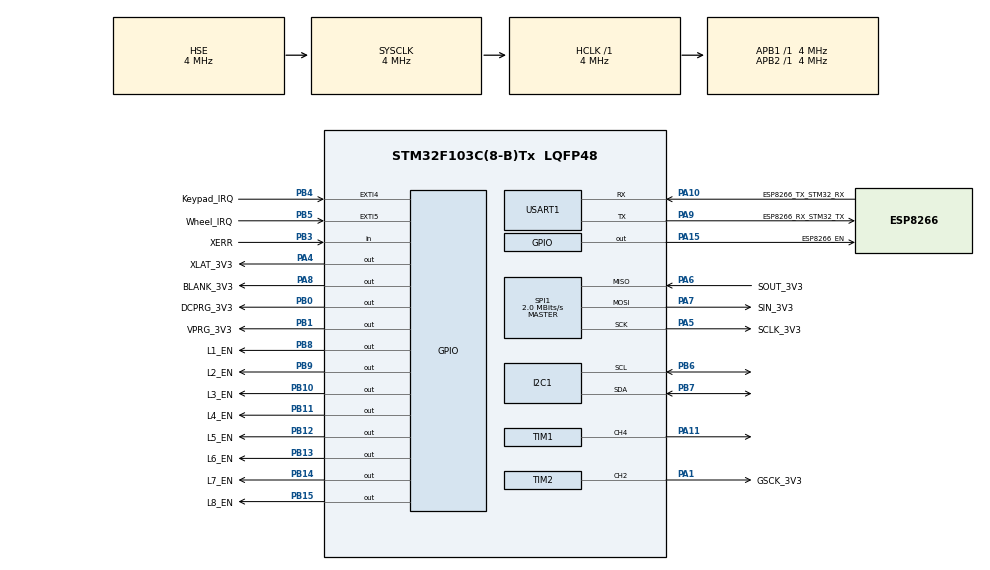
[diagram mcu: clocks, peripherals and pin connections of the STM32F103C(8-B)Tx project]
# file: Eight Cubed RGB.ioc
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Mcu.Family=STM32F1
PA6.Mode=Full_Duplex_Master
SH.S_TIM1_CH4.0=TIM1_CH4,PWM Generation4 CH4
SPI1.VirtualType=VM_MASTER
PB4.GPIO_ModeDefaultEXTI=GPIO_MODE_IT_FALLING
PB14.GPIO_Label=L7_EN
VP_RTC_VS_RTC_Activate.Mode=RTC_Enabled
PA6.GPIO_Label=SOUT_3V3
PB0.GPIO_Label=DCPRG_3V3
TIM2.Pulse-Output\ Compare2\ CH2=1
NVIC.TIM1_UP_IRQn=true\:0\:0\:true\:false\:true\:true\:true
PB13.GPIO_Label=L6_EN
PB11.Signal=GPIO_Output
PB13.Signal=GPIO_Output
PB15.Signal=GPIO_Output
RCC.SYSCLKSource=RCC_SYSCLKSOURCE_HSE
ProjectManager.StackSize=0x2000
PD1-OSC_OUT.Signal=RCC_OSC_OUT
PA15.GPIO_Label=ESP8266_EN
TIM1.Channel-PWM\ Generation4\ CH4=TIM_CHANNEL_4
SPI1.Direction=SPI_DIRECTION_2LINES
RCC.HCLKFreq_Value=4000000
RCC.APB2TimFreq_Value=4000000
PB6.Signal=I2C1_SCL
PB6.Mode=I2C
SPI1.CalculateBaudRate=2.0 MBits/s
RCC.AHBFreq_Value=4000000
RCC.HSE_VALUE=4000000
PB12.GPIO_Label=L5_EN
PB3.GPIO_PuPd=GPIO_PULLUP
PA14.Mode=Serial_Wire
PB1.GPIO_Label=VPRG_3V3
PA10.GPIO_Label=ESP8266_TX_STM32_RX
PB7.Signal=I2C1_SDA
PA8.Signal=GPIO_Output
Mcu.Package=LQFP48
PB9.Signal=GPIO_Output
TIM2.Channel-Output\ Compare2\ CH2=TIM_CHANNEL_2
TIM2.OCMode_2=TIM_OCMODE_TOGGLE
PB1.Signal=GPIO_Output
PA6.Signal=SPI1_MISO
PA10.Signal=USART1_RX
PA15.Signal=GPIO_Output
PB5.GPIO_Label=Wheel_IRQ
RCC.APB1TimFreq_Value=4000000
TIM1.Period=16383
NVIC.USART1_IRQn=true\:1\:0\:true\:false\:true\:true\:true
SPI1.BaudRatePrescaler=SPI_BAUDRATEPRESCALER_2
PA4.GPIO_Label=XLAT_3V3
PB4.Signal=GPXTI4
PA5.Mode=Full_Duplex_Master
PB3.GPIO_Label=XERR
PB5.GPIO_ModeDefaultEXTI=GPIO_MODE_IT_FALLING
RCC.PLLSourceVirtual=RCC_PLLSOURCE_HSE
NVIC.EXTI4_IRQn=true\:2\:0\:true\:false\:true\:true\:true
PA7.Mode=Full_Duplex_Master
PD1-OSC_OUT.Mode=HSE-External-Oscillator
PB9.GPIO_Label=L2_EN
PA10.Mode=Asynchronous
PA9.GPIO_Label=ESP8266_RX_STM32_TX
PB11.GPIO_Label=L4_EN
PD0-OSC_IN.Signal=RCC_OSC_IN
PA13.Signal=SYS_JTMS-SWDIO
PB8.GPIO_Label=L1_EN
SH.S_TIM2_CH2.0=TIM2_CH2,Output Compare2 CH2
PA9.Mode=Asynchronous
PA8.GPIO_Label=BLANK_3V3
ProjectManager.TargetToolchain=MDK-ARM V5.27
PB10.GPIO_Label=L3_EN
PA9.Signal=USART1_TX
RCC.USBFreq_Value=8000000
PA1.Signal=S_TIM2_CH2
PB10.Signal=GPIO_Output
PD0-OSC_IN.Mode=HSE-External-Oscillator
PB14.Signal=GPIO_Output
PA5.Signal=SPI1_SCK
board=custom
TIM1.TIM_MasterOutputTrigger=TIM_TRGO_UPDATE
RCC.APB2Freq_Value=4000000
PB4.GPIO_Label=Keypad_IRQ
PB15.GPIO_Label=L8_EN
SPI1.Mode=SPI_MODE_MASTER
PA1.GPIO_Label=GSCK_3V3
TIM2.Period=1
PA13.Mode=Serial_Wire
Mcu.Name=STM32F103C(8-B)Tx
PB3.Signal=GPIO_Input
PA4.Signal=GPIO_Output
RCC.SYSCLKFreq_VALUE=4000000
PB5.Signal=GPXTI5
PA7.GPIO_Label=SIN_3V3
PA5.GPIO_Label=SCLK_3V3
USART1.VirtualMode=VM_ASYNC
PB7.Mode=I2C
PA11.Signal=S_TIM1_CH4
NVIC.EXTI9_5_IRQn=true\:2\:0\:true\:false\:true\:true\:true
PA14.Signal=SYS_JTCK-SWCLK
ProjectManager.HeapSize=0x400
NVIC.PriorityGroup=NVIC_PRIORITYGROUP_4
PB8.Signal=GPIO_Output
RCC.APB1Freq_Value=4000000
PB0.Signal=GPIO_Output
PB12.Signal=GPIO_Output
PA7.Signal=SPI1_MOSI

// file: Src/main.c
/* USER CODE BEGIN Header */
/**
  ******************************************************************************
  * @file           : main.c
  * @brief          : Main program body
  ******************************************************************************
  * @attention
  *
  * <h2><center>&copy; Copyright (c) 2021 STMicroelectronics.
  * All rights reserved.</center></h2>
  *
  * This software component is licensed by ST under BSD 3-Clause license,
  * the "License"; You may not use this file except in compliance with the
  * License. You may obtain a copy of the License at:
  *                        opensource.org/licenses/BSD-3-Clause
  *
  ******************************************************************************
  */
/* USER CODE END Header */

#include "main.h"

/* USER CODE BEGIN Includes */
//#include <stdbool.h>
/* USER CODE END Includes */

/* USER CODE BEGIN PD */
#define NUM_TLCS 12
#define UART_TIMEOUT 500 //ms
/* USER CODE END PD */

I2C_HandleTypeDef hi2c1;

RTC_HandleTypeDef hrtc;

SPI_HandleTypeDef hspi1;

TIM_HandleTypeDef htim1;
TIM_HandleTypeDef htim2;

UART_HandleTypeDef huart1;

void SystemClock_Config(void);
static void MX_GPIO_Init(void);
static void MX_I2C1_Init(void);
static void MX_RTC_Init(void);
static void MX_SPI1_Init(void);
static void MX_TIM1_Init(void);
static void MX_TIM2_Init(void);
static void MX_USART1_UART_Init(void);
/* USER CODE BEGIN PFP */
void previous_lyr_off(uint16_t activeLyr);
uint16_t current_lyr_on(uint16_t activeLyr);
/* USER CODE END PFP */

/* USER CODE BEGIN 0 */

bool UPDATE_FRAME = 0;
bool commandReceived = 0;
bool initialLyrToggle = 1;

//Indicates active cube layer, must be global so timer IRQ can access.
uint8_t activeLyr = 0;
uint8_t uartRxIndex = 0;

//Data Arrays & Pointers shese should probably not be global
// Data Arrays
uint16_t data16[16*NUM_TLCS];
uint8_t data8[24*NUM_TLCS];

// Data Pointers
uint16_t *data16Ptr = &data16[0];
uint8_t *data8Ptr = &data8[0];

// pin mapping - this should never need to be reconfigured now that all the cabling as been eliminated :^)
// could make const uint8_ts but saving space in flash
uint8_t redMap[64] = {178,181,160,163,166,145,148,151,189,186,175,172,169,158,155,152,130,133,112,115,118,97,100,103,141,138,127,124,121,110,107,104,82,85,64,67,70,49,52,55,93,90,79,76,73,62,59,56,34,37,16,19,22,1,4,7,45,42,31,28,25,14,11,8};
uint8_t grnMap[64] = {177,180,183,162,165,144,147,150,190,187,184,173,170,159,156,153,129,132,135,114,117,96,99,102,142,139,136,125,122,111,108,105,81,84,87,66,69,48,51,54,94,91,88,77,74,63,60,57,33,36,39,18,21,0,3,6,46,43,40,29,26,15,12,9};
uint8_t bluMap[64] = {176,179,182,161,164,167,146,149,191,188,185,174,171,168,157,154,128,131,134,113,116,119,98,101,143,140,137,126,123,120,109,106,80,83,86,65,68,71,50,53,95,92,89,78,75,72,61,58,32,35,38,17,20,23,2,5,47,44,41,30,27,24,13,10};

uint8_t uartTxBuffer[DEF_STR_LEN];
uint8_t uartRxBuffer[RAW_CLI_DATA_STR_LEN];

Frame_TypeDef frame;
Frame_TypeDef *framePtr;

cliData_TypeDef cliData;
cliData_TypeDef *cliDataPtr = &cliData;

/* USER CODE END 0 */

int main(void)
{

  /* MCU Configuration--------------------------------------------------------*/

  /* Reset of all peripherals, Initializes the Flash interface and the Systick. */
  HAL_Init();

  /* Configure the system clock */
  SystemClock_Config();

  /* Initialize all configured peripherals */
  MX_GPIO_Init();
  MX_I2C1_Init();
  MX_RTC_Init();
  MX_SPI1_Init();
  MX_TIM1_Init();
  MX_TIM2_Init();
  MX_USART1_UART_Init();
  /* USER CODE BEGIN 2 */

	HAL_TIM_OC_Start(&htim2, TIM_CHANNEL_2);	//
	HAL_TIM_Base_Start_IT(&htim1);
	HAL_TIM_OC_Start(&htim1, TIM_CHANNEL_4);	//this was working with ch1 even though thats set as a gpio!
	HAL_SPI_Init(&hspi1);
	tlc_clear(data16Ptr);
	UPDATE_FRAME = 1;

	//have to manually initialize pointers
	framePtr = &frame;
	frame.lyr0Ptr = &frame.lyr0;
	frame.lyr1Ptr = &frame.lyr1;
	frame.lyr2Ptr = &frame.lyr2;
	frame.lyr3Ptr = &frame.lyr3;
	frame.lyr4Ptr = &frame.lyr4;
	frame.lyr5Ptr = &frame.lyr5;
	frame.lyr6Ptr = &frame.lyr6;
	frame.lyr7Ptr = &frame.lyr7;
	frame.lyr0.redArrPtr = &frame.lyr0.redArray[0];
	frame.lyr0.grnArrPtr = &frame.lyr0.grnArray[0];
	frame.lyr0.bluArrPtr = &frame.lyr0.bluArray[0];
	frame.lyr1.redArrPtr = &frame.lyr1.redArray[0];
	frame.lyr1.grnArrPtr = &frame.lyr1.grnArray[0];
	frame.lyr1.bluArrPtr = &frame.lyr1.bluArray[0];
	frame.lyr2.redArrPtr = &frame.lyr2.redArray[0];
	frame.lyr2.grnArrPtr = &frame.lyr2.grnArray[0];
	frame.lyr2.bluArrPtr = &frame.lyr2.bluArray[0];
	frame.lyr3.redArrPtr = &frame.lyr3.redArray[0];
	frame.lyr3.grnArrPtr = &frame.lyr3.grnArray[0];
	frame.lyr3.bluArrPtr = &frame.lyr3.bluArray[0];
	frame.lyr4.redArrPtr = &frame.lyr4.redArray[0];
	frame.lyr4.grnArrPtr = &frame.lyr4.grnArray[0];
	frame.lyr4.bluArrPtr = &frame.lyr4.bluArray[0];
	frame.lyr5.redArrPtr = &frame.lyr5.redArray[0];
	frame.lyr5.grnArrPtr = &frame.lyr5.grnArray[0];
	frame.lyr5.bluArrPtr = &frame.lyr5.bluArray[0];
	frame.lyr6.redArrPtr = &frame.lyr6.redArray[0];
	frame.lyr6.grnArrPtr = &frame.lyr6.grnArray[0];
	frame.lyr6.bluArrPtr = &frame.lyr6.bluArray[0];
	frame.lyr7.redArrPtr = &frame.lyr7.redArray[0];
	frame.lyr7.grnArrPtr = &frame.lyr7.grnArray[0];
	frame.lyr7.bluArrPtr = &frame.lyr7.bluArray[0];

	HAL_UART_Receive_IT(&huart1, &cliData.rawTextInput[uartRxIndex], 1);
	//frame_set_single_led_color(framePtr,0,0x0FFF0FFF0FFF,45);
	for(uint8_t jk=0;jk<64;jk++)
	{
		lyr_frame_set_single_led_color(frame.lyr0Ptr, 0x0FFF0FFF0FFF, jk);
	}

	UPDATE_FRAME = true;
	HAL_Delay(1000);

	lcd20x4_i2c_init(&hi2c1);
	lcd20x4_i2c_clear();
	lcd20x4_i2c_1stLine();
	lcd20x4_i2c_printf("8^3 RGB Begin!");

  /* USER CODE END 2 */

  /* Infinite loop */
  /* USER CODE BEGIN WHILE */
  while (1)
  {
		if(commandReceived==true)
		{
			commandReceived = false;
			cli_parse_data(cliDataPtr);
			cli_interpret_data(cliDataPtr,framePtr);
			cli_formulate_response(cliDataPtr);
			if(cliData.responseEnum != Null) HAL_UART_Transmit(&huart1, &cliData.responseStr[0], cliData.responseLen, UART_TIMEOUT);
			cli_data_cleanse(cliDataPtr); // resets everything except the rawTextInput
		}
		HAL_Delay(10);
	}
    /* USER CODE END WHILE */

}

void SystemClock_Config(void)
{
  RCC_OscInitTypeDef RCC_OscInitStruct = {0};
  RCC_ClkInitTypeDef RCC_ClkInitStruct = {0};
  RCC_PeriphCLKInitTypeDef PeriphClkInit = {0};

  /** Initializes the CPU, AHB and APB busses clocks
  */
  RCC_OscInitStruct.OscillatorType = RCC_OSCILLATORTYPE_LSI|RCC_OSCILLATORTYPE_HSE;
  RCC_OscInitStruct.HSEState = RCC_HSE_ON;
  RCC_OscInitStruct.LSIState = RCC_LSI_ON;
  RCC_OscInitStruct.PLL.PLLState = RCC_PLL_NONE;
  if (HAL_RCC_OscConfig(&RCC_OscInitStruct) != HAL_OK)
  {
    Error_Handler();
  }
  /** Initializes the CPU, AHB and APB busses clocks
  */
  RCC_ClkInitStruct.ClockType = RCC_CLOCKTYPE_HCLK|RCC_CLOCKTYPE_SYSCLK
                              |RCC_CLOCKTYPE_PCLK1|RCC_CLOCKTYPE_PCLK2;
  RCC_ClkInitStruct.SYSCLKSource = RCC_SYSCLKSOURCE_HSE;
  RCC_ClkInitStruct.AHBCLKDivider = RCC_SYSCLK_DIV1;
  RCC_ClkInitStruct.APB1CLKDivider = RCC_HCLK_DIV1;
  RCC_ClkInitStruct.APB2CLKDivider = RCC_HCLK_DIV1;

  if (HAL_RCC_ClockConfig(&RCC_ClkInitStruct, FLASH_LATENCY_0) != HAL_OK)
  {
    Error_Handler();
  }
  PeriphClkInit.PeriphClockSelection = RCC_PERIPHCLK_RTC;
  PeriphClkInit.RTCClockSelection = RCC_RTCCLKSOURCE_LSI;
  if (HAL_RCCEx_PeriphCLKConfig(&PeriphClkInit) != HAL_OK)
  {
    Error_Handler();
  }
}

static void MX_I2C1_Init(void)
{

  hi2c1.Instance = I2C1;
  hi2c1.Init.ClockSpeed = 100000;
  hi2c1.Init.DutyCycle = I2C_DUTYCYCLE_2;
  hi2c1.Init.OwnAddress1 = 0;
  hi2c1.Init.AddressingMode = I2C_ADDRESSINGMODE_7BIT;
  hi2c1.Init.DualAddressMode = I2C_DUALADDRESS_DISABLE;
  hi2c1.Init.OwnAddress2 = 0;
  hi2c1.Init.GeneralCallMode = I2C_GENERALCALL_DISABLE;
  hi2c1.Init.NoStretchMode = I2C_NOSTRETCH_DISABLE;
  if (HAL_I2C_Init(&hi2c1) != HAL_OK)
  {
    Error_Handler();
  }

}

static void MX_RTC_Init(void)
{

  /** Initialize RTC Only
  */
  hrtc.Instance = RTC;
  hrtc.Init.AsynchPrediv = RTC_AUTO_1_SECOND;
  hrtc.Init.OutPut = RTC_OUTPUTSOURCE_ALARM;
  if (HAL_RTC_Init(&hrtc) != HAL_OK)
  {
    Error_Handler();
  }

}

static void MX_SPI1_Init(void)
{

  /* SPI1 parameter configuration*/
  hspi1.Instance = SPI1;
  hspi1.Init.Mode = SPI_MODE_MASTER;
  hspi1.Init.Direction = SPI_DIRECTION_2LINES;
  hspi1.Init.DataSize = SPI_DATASIZE_8BIT;
  hspi1.Init.CLKPolarity = SPI_POLARITY_LOW;
  hspi1.Init.CLKPhase = SPI_PHASE_1EDGE;
  hspi1.Init.NSS = SPI_NSS_SOFT;
  hspi1.Init.BaudRatePrescaler = SPI_BAUDRATEPRESCALER_2;
  hspi1.Init.FirstBit = SPI_FIRSTBIT_MSB;
  hspi1.Init.TIMode = SPI_TIMODE_DISABLE;
  hspi1.Init.CRCCalculation = SPI_CRCCALCULATION_DISABLE;
  hspi1.Init.CRCPolynomial = 10;
  if (HAL_SPI_Init(&hspi1) != HAL_OK)
  {
    Error_Handler();
  }

}

static void MX_TIM1_Init(void)
{

  TIM_MasterConfigTypeDef sMasterConfig = {0};
  TIM_OC_InitTypeDef sConfigOC = {0};
  TIM_BreakDeadTimeConfigTypeDef sBreakDeadTimeConfig = {0};

  htim1.Instance = TIM1;
  htim1.Init.Prescaler = 0;
  htim1.Init.CounterMode = TIM_COUNTERMODE_UP;
  htim1.Init.Period = 16383;
  htim1.Init.ClockDivision = TIM_CLOCKDIVISION_DIV1;
  htim1.Init.RepetitionCounter = 0;
  htim1.Init.AutoReloadPreload = TIM_AUTORELOAD_PRELOAD_DISABLE;
  if (HAL_TIM_PWM_Init(&htim1) != HAL_OK)
  {
    Error_Handler();
  }
  sMasterConfig.MasterOutputTrigger = TIM_TRGO_UPDATE;
  sMasterConfig.MasterSlaveMode = TIM_MASTERSLAVEMODE_DISABLE;
  if (HAL_TIMEx_MasterConfigSynchronization(&htim1, &sMasterConfig) != HAL_OK)
  {
    Error_Handler();
  }
  sConfigOC.OCMode = TIM_OCMODE_PWM1;
  sConfigOC.Pulse = 0;
  sConfigOC.OCPolarity = TIM_OCPOLARITY_HIGH;
  sConfigOC.OCFastMode = TIM_OCFAST_DISABLE;
  sConfigOC.OCIdleState = TIM_OCIDLESTATE_RESET;
  sConfigOC.OCNIdleState = TIM_OCNIDLESTATE_RESET;
  if (HAL_TIM_PWM_ConfigChannel(&htim1, &sConfigOC, TIM_CHANNEL_4) != HAL_OK)
  {
    Error_Handler();
  }
  sBreakDeadTimeConfig.OffStateRunMode = TIM_OSSR_DISABLE;
  sBreakDeadTimeConfig.OffStateIDLEMode = TIM_OSSI_DISABLE;
  sBreakDeadTimeConfig.LockLevel = TIM_LOCKLEVEL_OFF;
  sBreakDeadTimeConfig.DeadTime = 0;
  sBreakDeadTimeConfig.BreakState = TIM_BREAK_DISABLE;
  sBreakDeadTimeConfig.BreakPolarity = TIM_BREAKPOLARITY_HIGH;
  sBreakDeadTimeConfig.AutomaticOutput = TIM_AUTOMATICOUTPUT_DISABLE;
  if (HAL_TIMEx_ConfigBreakDeadTime(&htim1, &sBreakDeadTimeConfig) != HAL_OK)
  {
    Error_Handler();
  }
  HAL_TIM_MspPostInit(&htim1);

}

static void MX_TIM2_Init(void)
{

  TIM_MasterConfigTypeDef sMasterConfig = {0};
  TIM_OC_InitTypeDef sConfigOC = {0};

  htim2.Instance = TIM2;
  htim2.Init.Prescaler = 0;
  htim2.Init.CounterMode = TIM_COUNTERMODE_UP;
  htim2.Init.Period = 1;
  htim2.Init.ClockDivision = TIM_CLOCKDIVISION_DIV1;
  htim2.Init.AutoReloadPreload = TIM_AUTORELOAD_PRELOAD_DISABLE;
  if (HAL_TIM_OC_Init(&htim2) != HAL_OK)
  {
    Error_Handler();
  }
  sMasterConfig.MasterOutputTrigger = TIM_TRGO_RESET;
  sMasterConfig.MasterSlaveMode = TIM_MASTERSLAVEMODE_DISABLE;
  if (HAL_TIMEx_MasterConfigSynchronization(&htim2, &sMasterConfig) != HAL_OK)
  {
    Error_Handler();
  }
  sConfigOC.OCMode = TIM_OCMODE_TOGGLE;
  sConfigOC.Pulse = 1;
  sConfigOC.OCPolarity = TIM_OCPOLARITY_HIGH;
  sConfigOC.OCFastMode = TIM_OCFAST_DISABLE;
  if (HAL_TIM_OC_ConfigChannel(&htim2, &sConfigOC, TIM_CHANNEL_2) != HAL_OK)
  {
    Error_Handler();
  }
  HAL_TIM_MspPostInit(&htim2);

}

static void MX_USART1_UART_Init(void)
{

  huart1.Instance = USART1;
  huart1.Init.BaudRate = 115200;
  huart1.Init.WordLength = UART_WORDLENGTH_8B;
  huart1.Init.StopBits = UART_STOPBITS_1;
  huart1.Init.Parity = UART_PARITY_NONE;
  huart1.Init.Mode = UART_MODE_TX_RX;
  huart1.Init.HwFlowCtl = UART_HWCONTROL_NONE;
  huart1.Init.OverSampling = UART_OVERSAMPLING_16;
  if (HAL_UART_Init(&huart1) != HAL_OK)
  {
    Error_Handler();
  }

}

static void MX_GPIO_Init(void)
{
  GPIO_InitTypeDef GPIO_InitStruct = {0};

  /* GPIO Ports Clock Enable */
  __HAL_RCC_GPIOD_CLK_ENABLE();
  __HAL_RCC_GPIOA_CLK_ENABLE();
  __HAL_RCC_GPIOB_CLK_ENABLE();

  /*Configure GPIO pin Output Level */
  HAL_GPIO_WritePin(GPIOA, XLAT_3V3_Pin|BLANK_3V3_Pin|ESP8266_EN_Pin, GPIO_PIN_RESET);

  /*Configure GPIO pin Output Level */
  HAL_GPIO_WritePin(GPIOB, DCPRG_3V3_Pin|VPRG_3V3_Pin|L3_EN_Pin|L4_EN_Pin
                          |L5_EN_Pin|L6_EN_Pin|L7_EN_Pin|L8_EN_Pin
                          |L1_EN_Pin|L2_EN_Pin, GPIO_PIN_RESET);

  /*Configure GPIO pins : XLAT_3V3_Pin BLANK_3V3_Pin ESP8266_EN_Pin */
  GPIO_InitStruct.Pin = XLAT_3V3_Pin|BLANK_3V3_Pin|ESP8266_EN_Pin;
  GPIO_InitStruct.Mode = GPIO_MODE_OUTPUT_PP;
  GPIO_InitStruct.Pull = GPIO_NOPULL;
  GPIO_InitStruct.Speed = GPIO_SPEED_FREQ_LOW;
  HAL_GPIO_Init(GPIOA, &GPIO_InitStruct);

  /*Configure GPIO pins : DCPRG_3V3_Pin VPRG_3V3_Pin L3_EN_Pin L4_EN_Pin
                           L5_EN_Pin L6_EN_Pin L7_EN_Pin L8_EN_Pin
                           L1_EN_Pin L2_EN_Pin */
  GPIO_InitStruct.Pin = DCPRG_3V3_Pin|VPRG_3V3_Pin|L3_EN_Pin|L4_EN_Pin
                          |L5_EN_Pin|L6_EN_Pin|L7_EN_Pin|L8_EN_Pin
                          |L1_EN_Pin|L2_EN_Pin;
  GPIO_InitStruct.Mode = GPIO_MODE_OUTPUT_PP;
  GPIO_InitStruct.Pull = GPIO_NOPULL;
  GPIO_InitStruct.Speed = GPIO_SPEED_FREQ_LOW;
  HAL_GPIO_Init(GPIOB, &GPIO_InitStruct);

  /*Configure GPIO pin : XERR_Pin */
  GPIO_InitStruct.Pin = XERR_Pin;
  GPIO_InitStruct.Mode = GPIO_MODE_INPUT;
  GPIO_InitStruct.Pull = GPIO_PULLUP;
  HAL_GPIO_Init(XERR_GPIO_Port, &GPIO_InitStruct);

  /*Configure GPIO pins : Keypad_IRQ_Pin Wheel_IRQ_Pin */
  GPIO_InitStruct.Pin = Keypad_IRQ_Pin|Wheel_IRQ_Pin;
  GPIO_InitStruct.Mode = GPIO_MODE_IT_FALLING;
  GPIO_InitStruct.Pull = GPIO_NOPULL;
  HAL_GPIO_Init(GPIOB, &GPIO_InitStruct);

  /* EXTI interrupt init*/
  HAL_NVIC_SetPriority(EXTI4_IRQn, 2, 0);
  HAL_NVIC_EnableIRQ(EXTI4_IRQn);

  HAL_NVIC_SetPriority(EXTI9_5_IRQn, 2, 0);
  HAL_NVIC_EnableIRQ(EXTI9_5_IRQn);

}

/* USER CODE BEGIN 4 */
void HAL_GPIO_EXTI_Callback(uint16_t GPIO_Pin)
{
	/*
	currentAction = Menu_Read_MPR121(hi2c1, GPIO_Pin, currentAction);
	if (currentAction == ACTION_HALT_ANIMATION) HALT_ANIMATION = true;
	*/
}

void HAL_TIM_PeriodElapsedCallback(TIM_HandleTypeDef *htim)
{

	if(initialLyrToggle == true)	//necessary because algorithm wasn't designed to handle inital condition where all lyrs are off
	{
		initialLyrToggle = false;
		previous_lyr_off(activeLyr);
	}

	if(UPDATE_FRAME==0)
	{
		previous_lyr_off(activeLyr);
		HAL_GPIO_WritePin(BLANK_3V3_GPIO_Port, BLANK_3V3_Pin, GPIO_PIN_SET);
		for(uint16_t dummyVar =1;dummyVar<15;dummyVar++); // short delay (approx 3us)
		HAL_GPIO_WritePin(BLANK_3V3_GPIO_Port, BLANK_3V3_Pin, GPIO_PIN_RESET);
		activeLyr =  current_lyr_on(activeLyr);
		return;
	}

	if(UPDATE_FRAME==1)
	{
		previous_lyr_off(activeLyr);
		lyr_frame_convert(frame.lyr0,data16Ptr); //previous usage
		//frame_convert(frame,activeLyr,data16Ptr);
		tlc_spi_convert(data16Ptr, data8Ptr);
		HAL_SPI_Transmit(&hspi1, data8Ptr, 24*NUM_TLCS, 10);
		HAL_GPIO_WritePin(BLANK_3V3_GPIO_Port, BLANK_3V3_Pin, GPIO_PIN_SET);
		HAL_GPIO_WritePin(XLAT_3V3_GPIO_Port, XLAT_3V3_Pin, GPIO_PIN_SET);
		for(uint16_t dummyVar =1;dummyVar<15;dummyVar++); // short delay (approx 3us)
		HAL_GPIO_WritePin(XLAT_3V3_GPIO_Port, XLAT_3V3_Pin, GPIO_PIN_RESET);
		HAL_GPIO_WritePin(BLANK_3V3_GPIO_Port, BLANK_3V3_Pin, GPIO_PIN_RESET);
		UPDATE_FRAME=0;
		activeLyr =  current_lyr_on(activeLyr);
		return;
	}
}

void previous_lyr_off(uint16_t activeLyr)
{
	if(activeLyr == 0) HAL_GPIO_TogglePin(L8_EN_GPIO_Port, L8_EN_Pin);
	if(activeLyr == 1) HAL_GPIO_TogglePin(L1_EN_GPIO_Port, L1_EN_Pin);
	if(activeLyr == 2) HAL_GPIO_TogglePin(L2_EN_GPIO_Port, L2_EN_Pin);
	if(activeLyr == 3) HAL_GPIO_TogglePin(L3_EN_GPIO_Port, L3_EN_Pin);
	if(activeLyr == 4) HAL_GPIO_TogglePin(L4_EN_GPIO_Port, L4_EN_Pin);
	if(activeLyr == 5) HAL_GPIO_TogglePin(L5_EN_GPIO_Port, L5_EN_Pin);
	if(activeLyr == 6) HAL_GPIO_TogglePin(L6_EN_GPIO_Port, L6_EN_Pin);
	if(activeLyr == 7) HAL_GPIO_TogglePin(L7_EN_GPIO_Port, L7_EN_Pin);
}

uint16_t current_lyr_on(uint16_t activeLyr)
{
	if(activeLyr == 0) HAL_GPIO_TogglePin(L1_EN_GPIO_Port, L1_EN_Pin);
	if(activeLyr == 1) HAL_GPIO_TogglePin(L2_EN_GPIO_Port, L2_EN_Pin);
	if(activeLyr == 2) HAL_GPIO_TogglePin(L3_EN_GPIO_Port, L3_EN_Pin);
	if(activeLyr == 3) HAL_GPIO_TogglePin(L4_EN_GPIO_Port, L4_EN_Pin);
	if(activeLyr == 4) HAL_GPIO_TogglePin(L5_EN_GPIO_Port, L5_EN_Pin);
	if(activeLyr == 5) HAL_GPIO_TogglePin(L6_EN_GPIO_Port, L6_EN_Pin);
	if(activeLyr == 6) HAL_GPIO_TogglePin(L7_EN_GPIO_Port, L7_EN_Pin);
	if(activeLyr == 7) HAL_GPIO_TogglePin(L8_EN_GPIO_Port, L8_EN_Pin);
	activeLyr++;
	if(activeLyr==8) activeLyr = 0;
	return activeLyr;
}

void HAL_UART_RxCpltCallback(UART_HandleTypeDef *huart)
{
	if(cliData.rawTextInput[uartRxIndex] == '\n')
	{
		commandReceived = true;
		uartRxIndex = 0;
	}

	else uartRxIndex++;

	HAL_UART_Receive_IT(&huart1, &cliData.rawTextInput[uartRxIndex], 1);
}

/* USER CODE END 4 */

void Error_Handler(void)
{
}

/************************ (C) COPYRIGHT STMicroelectronics *****END OF FILE****/
